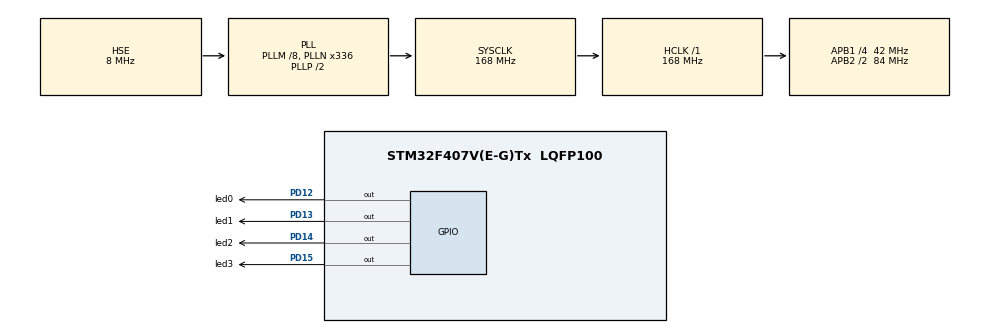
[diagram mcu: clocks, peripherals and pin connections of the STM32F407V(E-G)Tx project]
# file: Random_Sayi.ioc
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Mcu.Family=STM32F4
Mcu.Name=STM32F407V(E-G)Tx
Mcu.Package=LQFP100
NVIC.HASH_RNG_IRQn=true\:0\:0\:false\:false\:true\:true\:true\:true
NVIC.PriorityGroup=NVIC_PRIORITYGROUP_0
PA13.Mode=Serial_Wire
PA13.Signal=SYS_JTMS-SWDIO
PA14.Mode=Serial_Wire
PA14.Signal=SYS_JTCK-SWCLK
PD12.GPIO_Label=led0
PD12.GPIO_Speed=GPIO_SPEED_FREQ_MEDIUM
PD12.Signal=GPIO_Output
PD13.GPIO_Label=led1
PD13.GPIO_Speed=GPIO_SPEED_FREQ_MEDIUM
PD13.Signal=GPIO_Output
PD14.GPIO_Label=led2
PD14.GPIO_Speed=GPIO_SPEED_FREQ_MEDIUM
PD14.Signal=GPIO_Output
PD15.GPIO_Label=led3
PD15.GPIO_Speed=GPIO_SPEED_FREQ_MEDIUM
PD15.Signal=GPIO_Output
PH0-OSC_IN.Mode=HSE-External-Oscillator
PH0-OSC_IN.Signal=RCC_OSC_IN
PH1-OSC_OUT.Mode=HSE-External-Oscillator
PH1-OSC_OUT.Signal=RCC_OSC_OUT
ProjectManager.HeapSize=0x200
ProjectManager.StackSize=0x400
ProjectManager.TargetToolchain=STM32CubeIDE
RCC.48MHZClocksFreq_Value=48000000
RCC.AHBFreq_Value=168000000
RCC.APB1CLKDivider=RCC_HCLK_DIV4
RCC.APB1Freq_Value=42000000
RCC.APB1TimFreq_Value=84000000
RCC.APB2CLKDivider=RCC_HCLK_DIV2
RCC.APB2Freq_Value=84000000
RCC.APB2TimFreq_Value=168000000
RCC.CortexFreq_Value=168000000
RCC.HCLKFreq_Value=168000000
RCC.HSE_VALUE=8000000
RCC.HSI_VALUE=16000000
RCC.LSE_VALUE=32768
RCC.PLLM=8
RCC.PLLN=336
RCC.PLLQ=7
RCC.PLLSourceVirtual=RCC_PLLSOURCE_HSE
RCC.SYSCLKFreq_VALUE=168000000
RCC.SYSCLKSource=RCC_SYSCLKSOURCE_PLLCLK
RCC.VCOOutputFreq_Value=336000000
VP_RNG_VS_RNG.Mode=RNG_Activate
board=STM32F407G-DISC1

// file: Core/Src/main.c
/* USER CODE BEGIN Header */
/**
 ******************************************************************************
 * @file           : main.c
 * @brief          : Main program body
 ******************************************************************************
 * @attention
 *
 * <h2><center>&copy; Copyright (c) 2021 STMicroelectronics.
 * All rights reserved.</center></h2>
 *
 * This software component is licensed by ST under Ultimate Liberty license
 * SLA0044, the "License"; You may not use this file except in compliance with
 * the License. You may obtain a copy of the License at:
 *                             www.st.com/SLA0044
 *
 ******************************************************************************
 */
/* USER CODE END Header */
#include "main.h"

/* USER CODE BEGIN PD */
#define NUMBEROFPEOPLE  5
#define LENGTHOFNAME    10
/* USER CODE END PD */

RNG_HandleTypeDef hrng;

/* USER CODE BEGIN PV */

uint32_t randomNumber = 0;
uint16_t ledRandom=0;
uint16_t ledArray[4]={led0_Pin,led1_Pin, led2_Pin, led3_Pin};

char nameList[NUMBEROFPEOPLE][LENGTHOFNAME] = { "ali", "veli", "munure", "hasan", "zeynep" };
char win[LENGTHOFNAME] = "";
uint16_t rand = 0;
/* USER CODE END PV */

void SystemClock_Config(void);
static void MX_GPIO_Init(void);
static void MX_RNG_Init(void);

/* USER CODE BEGIN 0 */
void cekilisYap(char list[NUMBEROFPEOPLE][LENGTHOFNAME]) {

	HAL_RNG_GenerateRandomNumber(&hrng, &randomNumber);
	rand = randomNumber % NUMBEROFPEOPLE;

	for (int i = 0;i<LENGTHOFNAME; i++) {
		win[i]=list[rand][i];
	}
	HAL_Delay(3000);

}

/* USER CODE END 0 */

int main(void)
{

  /* MCU Configuration--------------------------------------------------------*/

  /* Reset of all peripherals, Initializes the Flash interface and the Systick. */
  HAL_Init();

  /* Configure the system clock */
  SystemClock_Config();

  /* Initialize all configured peripherals */
  MX_GPIO_Init();
  MX_RNG_Init();
  /* USER CODE BEGIN 2 */
	cekilisYap(nameList);

  /* USER CODE END 2 */

  /* Infinite loop */
	while (1) {

    /* USER CODE BEGIN 3 */

		/*
		HAL_RNG_GenerateRandomNumber(&hrng, &randomNumber);
		ledRandom=randomNumber%4;
		HAL_GPIO_WritePin(GPIOD, ledArray[ledRandom], 1);
		HAL_Delay(500);
		HAL_GPIO_WritePin(GPIOD, ledArray[ledRandom], 0);
		HAL_Delay(500);*/

	}
  /* USER CODE END 3 */
}

void SystemClock_Config(void)
{
  RCC_OscInitTypeDef RCC_OscInitStruct = {0};
  RCC_ClkInitTypeDef RCC_ClkInitStruct = {0};

  /** Configure the main internal regulator output voltage
  */
  __HAL_RCC_PWR_CLK_ENABLE();
  __HAL_PWR_VOLTAGESCALING_CONFIG(PWR_REGULATOR_VOLTAGE_SCALE1);

  /** Initializes the RCC Oscillators according to the specified parameters
  * in the RCC_OscInitTypeDef structure.
  */
  RCC_OscInitStruct.OscillatorType = RCC_OSCILLATORTYPE_HSE;
  RCC_OscInitStruct.HSEState = RCC_HSE_ON;
  RCC_OscInitStruct.PLL.PLLState = RCC_PLL_ON;
  RCC_OscInitStruct.PLL.PLLSource = RCC_PLLSOURCE_HSE;
  RCC_OscInitStruct.PLL.PLLM = 8;
  RCC_OscInitStruct.PLL.PLLN = 336;
  RCC_OscInitStruct.PLL.PLLP = RCC_PLLP_DIV2;
  RCC_OscInitStruct.PLL.PLLQ = 7;
  if (HAL_RCC_OscConfig(&RCC_OscInitStruct) != HAL_OK)
  {
    Error_Handler();
  }

  /** Initializes the CPU, AHB and APB buses clocks
  */
  RCC_ClkInitStruct.ClockType = RCC_CLOCKTYPE_HCLK|RCC_CLOCKTYPE_SYSCLK
                              |RCC_CLOCKTYPE_PCLK1|RCC_CLOCKTYPE_PCLK2;
  RCC_ClkInitStruct.SYSCLKSource = RCC_SYSCLKSOURCE_PLLCLK;
  RCC_ClkInitStruct.AHBCLKDivider = RCC_SYSCLK_DIV1;
  RCC_ClkInitStruct.APB1CLKDivider = RCC_HCLK_DIV4;
  RCC_ClkInitStruct.APB2CLKDivider = RCC_HCLK_DIV2;

  if (HAL_RCC_ClockConfig(&RCC_ClkInitStruct, FLASH_LATENCY_5) != HAL_OK)
  {
    Error_Handler();
  }
}

static void MX_RNG_Init(void)
{

  hrng.Instance = RNG;
  if (HAL_RNG_Init(&hrng) != HAL_OK)
  {
    Error_Handler();
  }

}

static void MX_GPIO_Init(void)
{
  GPIO_InitTypeDef GPIO_InitStruct = {0};

  /* GPIO Ports Clock Enable */
  __HAL_RCC_GPIOH_CLK_ENABLE();
  __HAL_RCC_GPIOD_CLK_ENABLE();
  __HAL_RCC_GPIOA_CLK_ENABLE();

  /*Configure GPIO pin Output Level */
  HAL_GPIO_WritePin(GPIOD, led0_Pin|led1_Pin|led2_Pin|led3_Pin, GPIO_PIN_RESET);

  /*Configure GPIO pins : led0_Pin led1_Pin led2_Pin led3_Pin */
  GPIO_InitStruct.Pin = led0_Pin|led1_Pin|led2_Pin|led3_Pin;
  GPIO_InitStruct.Mode = GPIO_MODE_OUTPUT_PP;
  GPIO_InitStruct.Pull = GPIO_NOPULL;
  GPIO_InitStruct.Speed = GPIO_SPEED_FREQ_MEDIUM;
  HAL_GPIO_Init(GPIOD, &GPIO_InitStruct);

}

void Error_Handler(void)
{
	__disable_irq();
	while (1) {
	}
}
